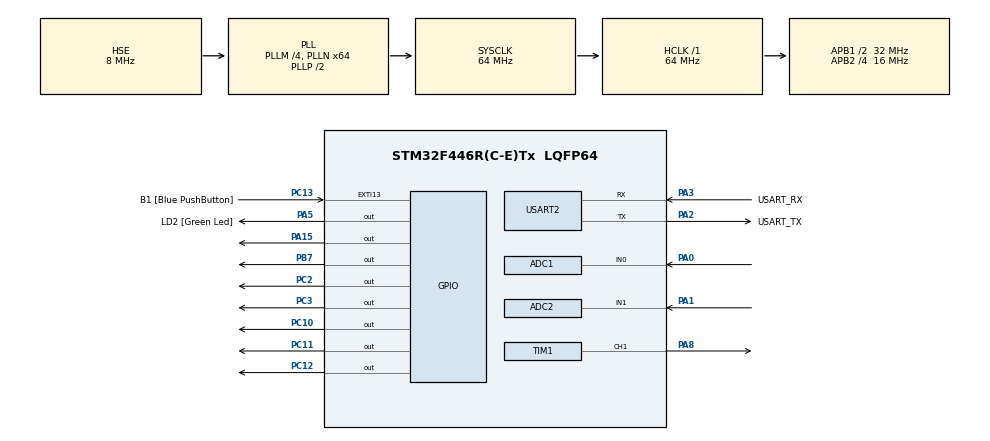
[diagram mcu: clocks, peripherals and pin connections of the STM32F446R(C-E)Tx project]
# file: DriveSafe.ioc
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ADC1.Channel-2\#ChannelRegularConversion=ADC_CHANNEL_0
ADC1.Channel-3\#ChannelRegularConversion=ADC_CHANNEL_0
ADC1.EnableAnalogWatchDog=false
ADC1.InjNumberOfConversion=0
ADC1.NbrOfConversion=2
ADC1.NbrOfConversionFlag=1
ADC1.Rank-2\#ChannelRegularConversion=1
ADC1.Rank-3\#ChannelRegularConversion=2
ADC1.SamplingTime-2\#ChannelRegularConversion=ADC_SAMPLETIME_3CYCLES
ADC1.SamplingTime-3\#ChannelRegularConversion=ADC_SAMPLETIME_3CYCLES
ADC1.master=1
ADC2.Channel-2\#ChannelRegularConversion=ADC_CHANNEL_1
ADC2.NbrOfConversionFlag=1
ADC2.Rank-2\#ChannelRegularConversion=1
ADC2.SamplingTime-2\#ChannelRegularConversion=ADC_SAMPLETIME_3CYCLES
Mcu.Family=STM32F4
Mcu.Name=STM32F446R(C-E)Tx
Mcu.Package=LQFP64
NVIC.PriorityGroup=NVIC_PRIORITYGROUP_0
NVIC.TIM1_UP_TIM10_IRQn=true\:0\:0\:false\:false\:true\:true\:true\:true
PA0-WKUP.Signal=ADCx_IN0
PA1.Signal=ADCx_IN1
PA13.GPIO_Label=TMS
PA13.Mode=Serial_Wire
PA13.Signal=SYS_JTMS-SWDIO
PA14.GPIO_Label=TCK
PA14.Mode=Serial_Wire
PA14.Signal=SYS_JTCK-SWCLK
PA15.Signal=GPIO_Output
PA2.GPIO_Label=USART_TX
PA2.Mode=Asynchronous
PA2.Signal=USART2_TX
PA3.GPIO_Label=USART_RX
PA3.Mode=Asynchronous
PA3.Signal=USART2_RX
PA5.GPIO_Label=LD2 [Green Led]
PA5.Signal=GPIO_Output
PA8.Signal=S_TIM1_CH1
PB3.GPIO_Label=SWO
PB3.Signal=SYS_JTDO-SWO
PB7.Signal=GPIO_Output
PC10.Signal=GPIO_Output
PC11.Signal=GPIO_Output
PC12.Signal=GPIO_Output
PC13.GPIO_Label=B1 [Blue PushButton]
PC13.GPIO_ModeDefaultEXTI=GPIO_MODE_IT_FALLING
PC13.Signal=GPXTI13
PC14-OSC32_IN.Signal=RCC_OSC32_IN
PC15-OSC32_OUT.Signal=RCC_OSC32_OUT
PC2.Signal=GPIO_Output
PC3.Signal=GPIO_Output
PH0-OSC_IN.Mode=HSE-External-Oscillator
PH0-OSC_IN.Signal=RCC_OSC_IN
PH1-OSC_OUT.Mode=HSE-External-Oscillator
PH1-OSC_OUT.Signal=RCC_OSC_OUT
ProjectManager.HeapSize=0x200
ProjectManager.StackSize=0x400
ProjectManager.TargetToolchain=STM32CubeIDE
RCC.48MHZClocksFreq_Value=84000000
RCC.AHBFreq_Value=64000000
RCC.APB1CLKDivider=RCC_HCLK_DIV2
RCC.APB1Freq_Value=32000000
RCC.APB1TimFreq_Value=64000000
RCC.APB2CLKDivider=RCC_HCLK_DIV4
RCC.APB2Freq_Value=16000000
RCC.APB2TimFreq_Value=32000000
RCC.CortexFreq_Value=64000000
RCC.FLatency-AdvancedSettings=FLASH_LATENCY_2
RCC.HCLKFreq_Value=64000000
RCC.HSE_VALUE=8000000
RCC.HSI_VALUE=16000000
RCC.PLLM=4
RCC.PLLN=64
RCC.PLLSourceVirtual=RCC_PLLSOURCE_HSE
RCC.SYSCLKFreq_VALUE=64000000
RCC.SYSCLKSource=RCC_SYSCLKSOURCE_PLLCLK
RCC.USBFreq_Value=64000000
RCC.VCOOutputFreq_Value=128000000
SH.ADCx_IN0.0=ADC1_IN0,IN0
SH.ADCx_IN0.1=ADC2_IN0
SH.ADCx_IN1.0=ADC2_IN1,IN1
SH.S_TIM1_CH1.0=TIM1_CH1,PWM Generation1 CH1
TIM1.Channel-PWM\ Generation1\ CH1=TIM_CHANNEL_1
TIM1.Period=1000
TIM1.Prescaler=0
USART2.VirtualMode=VM_ASYNC
VP_TIM1_VS_ClockSourceINT.Mode=Internal
board=NUCLEO-F446RE

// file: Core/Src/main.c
/* USER CODE BEGIN Header */
/**
  ******************************************************************************
  * @file           : main.c
  * @brief          : Main program body
  ******************************************************************************
  * @attention
  *
  * Copyright (c) 2025 STMicroelectronics.
  * All rights reserved.
  *
  * This software is licensed under terms that can be found in the LICENSE file
  * in the root directory of this software component.
  * If no LICENSE file comes with this software, it is provided AS-IS.
  *
  ******************************************************************************
  */
/* USER CODE END Header */
#include "main.h"

/* USER CODE BEGIN Includes */
#include "LCD1602.h"
#include <stdio.h>
#include <string.h>
#include "keypad.h"
#include <stdbool.h>
/* USER CODE END Includes */

ADC_HandleTypeDef hadc1;
ADC_HandleTypeDef hadc2;

TIM_HandleTypeDef htim1;

UART_HandleTypeDef huart2;

/* USER CODE BEGIN PV */
char spd[64];//create a char to write the UART message
char typ[64];//for the driving type
char tmp_str[32];//termperature
char weather[64];//type of condition
uint16_t ADC_VAL_SPEED = 0;//create a storer for the adc value between 0-4095
float speed = 0;//store a float to convert adc to speed value
uint16_t ADC_VAL_TEMP = 0;//create a storer for the adc value again
float temp = 0;//convert adc to temp value
volatile uint32_t drowsy_counter = 0;
char driver_id[6];       // 5-digit driver ID + null terminator
int id_index = 0;        // Index for digit entry
char user_type = 'U';    // 'T' = Teen, 'A' = Adult
bool user_identified = false;

/* USER CODE END PV */

void SystemClock_Config(void);
static void MX_GPIO_Init(void);
static void MX_USART2_UART_Init(void);
static void MX_TIM1_Init(void);
static void MX_ADC1_Init(void);
static void MX_ADC2_Init(void);
/* USER CODE BEGIN PFP */
void Read_ADC_Values(void);
void Classify_driving(float temp_c, char* cond, char* drive);
void Display_LCD(float temp_c,char* cond, char* drive);
void HAL_TIM_PeriodElapsedCallback(TIM_HandleTypeDef *htim);
void Run_Driving_Session(void);
void Display_Confirmation_LCD(void);
/* USER CODE END PFP */

int main(void)
{

  /* MCU Configuration--------------------------------------------------------*/

  /* Reset of all peripherals, Initializes the Flash interface and the Systick. */
  HAL_Init();

  /* Configure the system clock */
  SystemClock_Config();

  /* Initialize all configured peripherals */
  MX_GPIO_Init();
  MX_USART2_UART_Init();
  MX_TIM1_Init();
  MX_ADC1_Init();
  MX_ADC2_Init();
  /* USER CODE BEGIN 2 */

  HAL_TIM_Base_Start(&htim1);
  HAL_TIM_Base_Start_IT(&htim1);
  lcd_init();

  __HAL_TIM_SET_PRESCALER(&htim1, 240);
  HAL_TIM_PWM_Start(&htim1,TIM_CHANNEL_1);

  /* USER CODE END 2 */

  /* Infinite loop */
  while (1)
  {

    /* USER CODE BEGIN 3 */
	  /*
	  if(!user_identified){
		  user_type = Get_User_Type_From_Keypad();
		  Get_Driver_ID_From_Keypad(driver_id);
		  Display_Confirmation_LCD();
		  Run_Driving_Session();
		  user_identified = true;
	  }

	  Run_Driving_Session();
	  */
		user_type = Get_User_Type_From_Keypad();         // Ask T/A every loop
		Get_Driver_ID_From_Keypad(driver_id);            // Ask 5-digit ID
		Display_Confirmation_LCD();                      // Show what was entered
		HAL_Delay(1000); // optional delay for clarity

  }
  /* USER CODE END 3 */
}

void SystemClock_Config(void)
{
  RCC_OscInitTypeDef RCC_OscInitStruct = {0};
  RCC_ClkInitTypeDef RCC_ClkInitStruct = {0};

  /** Configure the main internal regulator output voltage
  */
  __HAL_RCC_PWR_CLK_ENABLE();
  __HAL_PWR_VOLTAGESCALING_CONFIG(PWR_REGULATOR_VOLTAGE_SCALE3);

  /** Initializes the RCC Oscillators according to the specified parameters
  * in the RCC_OscInitTypeDef structure.
  */
  RCC_OscInitStruct.OscillatorType = RCC_OSCILLATORTYPE_HSE;
  RCC_OscInitStruct.HSEState = RCC_HSE_ON;
  RCC_OscInitStruct.PLL.PLLState = RCC_PLL_ON;
  RCC_OscInitStruct.PLL.PLLSource = RCC_PLLSOURCE_HSE;
  RCC_OscInitStruct.PLL.PLLM = 4;
  RCC_OscInitStruct.PLL.PLLN = 64;
  RCC_OscInitStruct.PLL.PLLP = RCC_PLLP_DIV2;
  RCC_OscInitStruct.PLL.PLLQ = 2;
  RCC_OscInitStruct.PLL.PLLR = 2;
  if (HAL_RCC_OscConfig(&RCC_OscInitStruct) != HAL_OK)
  {
    Error_Handler();
  }

  /** Initializes the CPU, AHB and APB buses clocks
  */
  RCC_ClkInitStruct.ClockType = RCC_CLOCKTYPE_HCLK|RCC_CLOCKTYPE_SYSCLK
                              |RCC_CLOCKTYPE_PCLK1|RCC_CLOCKTYPE_PCLK2;
  RCC_ClkInitStruct.SYSCLKSource = RCC_SYSCLKSOURCE_PLLCLK;
  RCC_ClkInitStruct.AHBCLKDivider = RCC_SYSCLK_DIV1;
  RCC_ClkInitStruct.APB1CLKDivider = RCC_HCLK_DIV2;
  RCC_ClkInitStruct.APB2CLKDivider = RCC_HCLK_DIV4;

  if (HAL_RCC_ClockConfig(&RCC_ClkInitStruct, FLASH_LATENCY_2) != HAL_OK)
  {
    Error_Handler();
  }
}

static void MX_ADC1_Init(void)
{

  ADC_ChannelConfTypeDef sConfig = {0};

  /** Configure the global features of the ADC (Clock, Resolution, Data Alignment and number of conversion)
  */
  hadc1.Instance = ADC1;
  hadc1.Init.ClockPrescaler = ADC_CLOCK_SYNC_PCLK_DIV2;
  hadc1.Init.Resolution = ADC_RESOLUTION_12B;
  hadc1.Init.ScanConvMode = ENABLE;
  hadc1.Init.ContinuousConvMode = DISABLE;
  hadc1.Init.DiscontinuousConvMode = DISABLE;
  hadc1.Init.ExternalTrigConvEdge = ADC_EXTERNALTRIGCONVEDGE_NONE;
  hadc1.Init.ExternalTrigConv = ADC_SOFTWARE_START;
  hadc1.Init.DataAlign = ADC_DATAALIGN_RIGHT;
  hadc1.Init.NbrOfConversion = 2;
  hadc1.Init.DMAContinuousRequests = DISABLE;
  hadc1.Init.EOCSelection = ADC_EOC_SINGLE_CONV;
  if (HAL_ADC_Init(&hadc1) != HAL_OK)
  {
    Error_Handler();
  }

  /** Configure for the selected ADC regular channel its corresponding rank in the sequencer and its sample time.
  */
  sConfig.Channel = ADC_CHANNEL_0;
  sConfig.Rank = 1;
  sConfig.SamplingTime = ADC_SAMPLETIME_3CYCLES;
  if (HAL_ADC_ConfigChannel(&hadc1, &sConfig) != HAL_OK)
  {
    Error_Handler();
  }

  /** Configure for the selected ADC regular channel its corresponding rank in the sequencer and its sample time.
  */
  sConfig.Rank = 2;
  if (HAL_ADC_ConfigChannel(&hadc1, &sConfig) != HAL_OK)
  {
    Error_Handler();
  }

}

static void MX_ADC2_Init(void)
{

  ADC_ChannelConfTypeDef sConfig = {0};

  /** Configure the global features of the ADC (Clock, Resolution, Data Alignment and number of conversion)
  */
  hadc2.Instance = ADC2;
  hadc2.Init.ClockPrescaler = ADC_CLOCK_SYNC_PCLK_DIV2;
  hadc2.Init.Resolution = ADC_RESOLUTION_12B;
  hadc2.Init.ScanConvMode = DISABLE;
  hadc2.Init.ContinuousConvMode = DISABLE;
  hadc2.Init.DiscontinuousConvMode = DISABLE;
  hadc2.Init.ExternalTrigConvEdge = ADC_EXTERNALTRIGCONVEDGE_NONE;
  hadc2.Init.ExternalTrigConv = ADC_SOFTWARE_START;
  hadc2.Init.DataAlign = ADC_DATAALIGN_RIGHT;
  hadc2.Init.NbrOfConversion = 1;
  hadc2.Init.DMAContinuousRequests = DISABLE;
  hadc2.Init.EOCSelection = ADC_EOC_SINGLE_CONV;
  if (HAL_ADC_Init(&hadc2) != HAL_OK)
  {
    Error_Handler();
  }

  /** Configure for the selected ADC regular channel its corresponding rank in the sequencer and its sample time.
  */
  sConfig.Channel = ADC_CHANNEL_1;
  sConfig.Rank = 1;
  sConfig.SamplingTime = ADC_SAMPLETIME_3CYCLES;
  if (HAL_ADC_ConfigChannel(&hadc2, &sConfig) != HAL_OK)
  {
    Error_Handler();
  }

}

static void MX_TIM1_Init(void)
{

  TIM_ClockConfigTypeDef sClockSourceConfig = {0};
  TIM_MasterConfigTypeDef sMasterConfig = {0};
  TIM_OC_InitTypeDef sConfigOC = {0};
  TIM_BreakDeadTimeConfigTypeDef sBreakDeadTimeConfig = {0};

  htim1.Instance = TIM1;
  htim1.Init.Prescaler = 0;
  htim1.Init.CounterMode = TIM_COUNTERMODE_UP;
  htim1.Init.Period = 1000;
  htim1.Init.ClockDivision = TIM_CLOCKDIVISION_DIV1;
  htim1.Init.RepetitionCounter = 0;
  htim1.Init.AutoReloadPreload = TIM_AUTORELOAD_PRELOAD_DISABLE;
  if (HAL_TIM_Base_Init(&htim1) != HAL_OK)
  {
    Error_Handler();
  }
  sClockSourceConfig.ClockSource = TIM_CLOCKSOURCE_INTERNAL;
  if (HAL_TIM_ConfigClockSource(&htim1, &sClockSourceConfig) != HAL_OK)
  {
    Error_Handler();
  }
  if (HAL_TIM_PWM_Init(&htim1) != HAL_OK)
  {
    Error_Handler();
  }
  sMasterConfig.MasterOutputTrigger = TIM_TRGO_RESET;
  sMasterConfig.MasterSlaveMode = TIM_MASTERSLAVEMODE_DISABLE;
  if (HAL_TIMEx_MasterConfigSynchronization(&htim1, &sMasterConfig) != HAL_OK)
  {
    Error_Handler();
  }
  sConfigOC.OCMode = TIM_OCMODE_PWM1;
  sConfigOC.Pulse = 0;
  sConfigOC.OCPolarity = TIM_OCPOLARITY_HIGH;
  sConfigOC.OCNPolarity = TIM_OCNPOLARITY_HIGH;
  sConfigOC.OCFastMode = TIM_OCFAST_DISABLE;
  sConfigOC.OCIdleState = TIM_OCIDLESTATE_RESET;
  sConfigOC.OCNIdleState = TIM_OCNIDLESTATE_RESET;
  if (HAL_TIM_PWM_ConfigChannel(&htim1, &sConfigOC, TIM_CHANNEL_1) != HAL_OK)
  {
    Error_Handler();
  }
  sBreakDeadTimeConfig.OffStateRunMode = TIM_OSSR_DISABLE;
  sBreakDeadTimeConfig.OffStateIDLEMode = TIM_OSSI_DISABLE;
  sBreakDeadTimeConfig.LockLevel = TIM_LOCKLEVEL_OFF;
  sBreakDeadTimeConfig.DeadTime = 0;
  sBreakDeadTimeConfig.BreakState = TIM_BREAK_DISABLE;
  sBreakDeadTimeConfig.BreakPolarity = TIM_BREAKPOLARITY_HIGH;
  sBreakDeadTimeConfig.AutomaticOutput = TIM_AUTOMATICOUTPUT_DISABLE;
  if (HAL_TIMEx_ConfigBreakDeadTime(&htim1, &sBreakDeadTimeConfig) != HAL_OK)
  {
    Error_Handler();
  }
  HAL_TIM_MspPostInit(&htim1);

}

static void MX_USART2_UART_Init(void)
{

  huart2.Instance = USART2;
  huart2.Init.BaudRate = 115200;
  huart2.Init.WordLength = UART_WORDLENGTH_8B;
  huart2.Init.StopBits = UART_STOPBITS_1;
  huart2.Init.Parity = UART_PARITY_NONE;
  huart2.Init.Mode = UART_MODE_TX_RX;
  huart2.Init.HwFlowCtl = UART_HWCONTROL_NONE;
  huart2.Init.OverSampling = UART_OVERSAMPLING_16;
  if (HAL_UART_Init(&huart2) != HAL_OK)
  {
    Error_Handler();
  }

}

static void MX_GPIO_Init(void)
{
  GPIO_InitTypeDef GPIO_InitStruct = {0};

  /* GPIO Ports Clock Enable */
  __HAL_RCC_GPIOC_CLK_ENABLE();
  __HAL_RCC_GPIOH_CLK_ENABLE();
  __HAL_RCC_GPIOA_CLK_ENABLE();
  __HAL_RCC_GPIOB_CLK_ENABLE();

  /*Configure GPIO pin Output Level */
  HAL_GPIO_WritePin(GPIOC, GPIO_PIN_2|GPIO_PIN_3|GPIO_PIN_10|GPIO_PIN_11
                          |GPIO_PIN_12, GPIO_PIN_RESET);

  /*Configure GPIO pin Output Level */
  HAL_GPIO_WritePin(GPIOA, LD2_Pin|GPIO_PIN_15, GPIO_PIN_RESET);

  /*Configure GPIO pin Output Level */
  HAL_GPIO_WritePin(GPIOB, GPIO_PIN_7, GPIO_PIN_RESET);

  /*Configure GPIO pin : B1_Pin */
  GPIO_InitStruct.Pin = B1_Pin;
  GPIO_InitStruct.Mode = GPIO_MODE_IT_FALLING;
  GPIO_InitStruct.Pull = GPIO_NOPULL;
  HAL_GPIO_Init(B1_GPIO_Port, &GPIO_InitStruct);

  /*Configure GPIO pins : PC2 PC3 PC10 PC11
                           PC12 */
  GPIO_InitStruct.Pin = GPIO_PIN_2|GPIO_PIN_3|GPIO_PIN_10|GPIO_PIN_11
                          |GPIO_PIN_12;
  GPIO_InitStruct.Mode = GPIO_MODE_OUTPUT_PP;
  GPIO_InitStruct.Pull = GPIO_NOPULL;
  GPIO_InitStruct.Speed = GPIO_SPEED_FREQ_LOW;
  HAL_GPIO_Init(GPIOC, &GPIO_InitStruct);

  /*Configure GPIO pins : LD2_Pin PA15 */
  GPIO_InitStruct.Pin = LD2_Pin|GPIO_PIN_15;
  GPIO_InitStruct.Mode = GPIO_MODE_OUTPUT_PP;
  GPIO_InitStruct.Pull = GPIO_NOPULL;
  GPIO_InitStruct.Speed = GPIO_SPEED_FREQ_LOW;
  HAL_GPIO_Init(GPIOA, &GPIO_InitStruct);

  /*Configure GPIO pin : PB7 */
  GPIO_InitStruct.Pin = GPIO_PIN_7;
  GPIO_InitStruct.Mode = GPIO_MODE_OUTPUT_PP;
  GPIO_InitStruct.Pull = GPIO_NOPULL;
  GPIO_InitStruct.Speed = GPIO_SPEED_FREQ_LOW;
  HAL_GPIO_Init(GPIOB, &GPIO_InitStruct);

}

/* USER CODE BEGIN 4 */
void Read_ADC_Values(void){
	HAL_ADC_Start(&hadc1);//enable hardware to begin capturing analog voltage
	HAL_ADC_PollForConversion(&hadc1, 100);//converts the analog to a digital value b/w 0-4095(12 bit)
	ADC_VAL_SPEED = HAL_ADC_GetValue(&hadc1);//read the converted digital value and store it in the ADC val
	//Wait for second channel (IN1)
	HAL_ADC_Stop(&hadc1);//stop the ADC after getting a reading

	HAL_ADC_Start(&hadc2);//enable hardware to begin capturing analog voltage
	HAL_ADC_PollForConversion(&hadc2, 100);//converts the analog to a digital value b/w 0-4095(12 bit)
	ADC_VAL_TEMP = HAL_ADC_GetValue(&hadc2);
	HAL_ADC_Stop(&hadc2);//stop the ADC after getting a reading

	speed = (ADC_VAL_SPEED/4095.0) * 140.0;//set max speed fror testing as 140, convert it into a value 0-140
	temp = (ADC_VAL_TEMP)* 3.3/4095.0;//get the temp using the formula
}

void Classify_driving(float temp_c, char* cond, char* drive){
	if(temp_c < 0){//if statements for the temperature classification
	  strcpy(cond,"ICY");
	  if (speed < 50){
		  strcpy(drive, "SAFE");//classify the trype of driving based on the speed
	  }
	  else{
		  strcpy(drive, "AGGRESSIVE");
	  }
	}

	else if(temp_c >= 0 && temp_c< 10){//if statements for the temperature classification
	  strcpy(cond,"COLD");
	  if (speed < 60){
		  strcpy(drive, "SAFE");//classify the trype of driving based on the speed
	  }
	  else{
		  strcpy(drive, "AGGRESSIVE");
	  }
	}

	else if(temp_c >=10 && temp_c <= 40){
	  strcpy(cond,"NORMAL");
	  if (speed < 70){
		  strcpy(drive, "SAFE");//classify the trype of driving based on the speed
	  }
	  else if(speed > 80){
		  strcpy(drive, "AGGRESSIVE");
	  }
	  else{
		  strcpy(drive, "MODERATE");
	  }
	}

	else if(temp_c > 40){//if statements for the temperature classification
	  strcpy(cond,"HEAT");
	  if (speed < 60){
		  strcpy(drive, "SAFE");//classify the trype of driving based on the speed
	  }
	  else{
		  strcpy(drive, "AGGRESSIVE");
	  }
	}

	sprintf(spd,"SPD=%.1f MPH\r\n",speed);//format the string
	sprintf(typ,"MODE=%s\r\n",drive);
	sprintf(tmp_str, "TMP=%.1f C\r\n", temp_c);
	sprintf(weather, "COND=%s \r\n", cond);

	HAL_UART_Transmit(&huart2, (uint8_t*)spd,strlen(spd),1000);//send the formatetd message over USART2
	HAL_UART_Transmit(&huart2, (uint8_t*)typ,strlen(typ),1000);//send the formatetd message over USART2
	HAL_UART_Transmit(&huart2, (uint8_t*)tmp_str, strlen(tmp_str), 1000);
	HAL_UART_Transmit(&huart2, (uint8_t*)weather, strlen(weather), 1000);
}

void Display_LCD(float temp_c, char* cond, char* drive){
	sprintf(spd,"SPD=%.1f MPH\n",speed);//format the string for the lcd (\r messes up here)
	sprintf(typ,"MODE=%s\n",drive);
	sprintf(tmp_str, "TMP=%.1f C\n", temp_c);
	sprintf(weather, "COND=%s\n", cond);

	lcd_clear();
	lcd_put_cur(0, 0);
	lcd_send_string(spd);
	lcd_put_cur(1, 0);
	lcd_send_string(typ);
	HAL_Delay(1250);//delay before repeating the process

	lcd_clear();
	lcd_put_cur(0,0);
	lcd_send_string(tmp_str);
	lcd_put_cur(1,0);
	lcd_send_string(weather);
}

void HAL_TIM_PeriodElapsedCallback(TIM_HandleTypeDef *htim){
	if(htim->Instance == TIM1){
		if(speed<3){
			drowsy_counter++;
		}
		else{
			drowsy_counter = 0; // reset if vehicle is found moving
		}
	}
}

void Run_Driving_Session(void) {
    Read_ADC_Values();
    char cond[32];
    char drive[32];
    float temp_c = (temp - 0.5) * 100;

    Classify_driving(temp_c, cond, drive);
    HAL_Delay(500);
    Display_LCD(temp_c, cond, drive);
    HAL_Delay(1250);
}

void Display_Confirmation_LCD(void) {
    lcd_clear();
    lcd_put_cur(0, 0);
    lcd_send_string("ID: ");
    lcd_send_string(driver_id);
    lcd_put_cur(1, 0);
    if (user_type == 'T') {
        lcd_send_string("Teen Detected");
    } else {
        lcd_send_string("Adult Detected");
    }
    HAL_Delay(2000);
    lcd_clear();
}

/* USER CODE END 4 */

void Error_Handler(void)
{
  __disable_irq();
  while (1)
  {
  }
}
